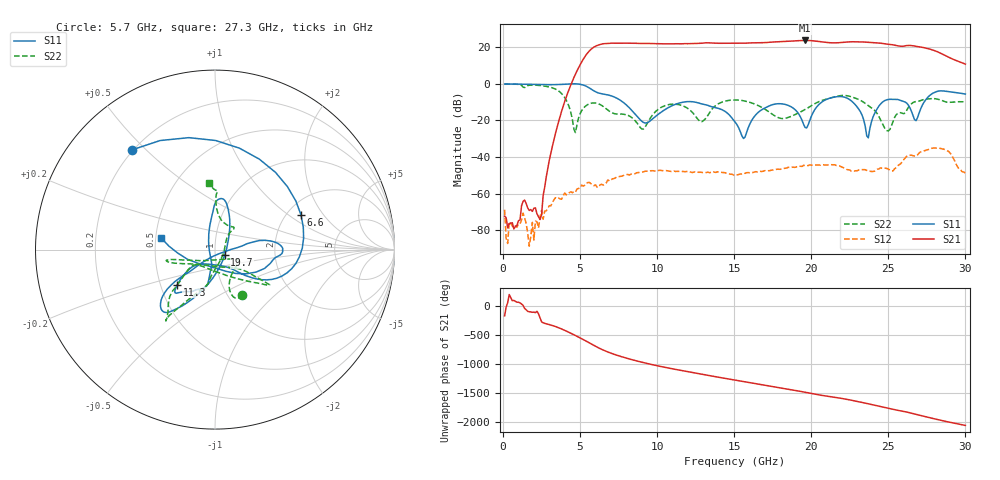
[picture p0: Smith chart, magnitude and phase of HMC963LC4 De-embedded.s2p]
! Hittite Microwave Corporation
! 2 Elizabeth Drive
! Chelmsford, MA 01824
! http://www.hittite.com
! Tel: 978-250-3343
! Fax: 978-250-3373
! Device:  HMC963LP4
! Description: GaAs pHEMT MMIC Low Noise Amplifier
! Frequency:  6.00 -  26.50 GHz
! Package:  LP4  - 4x4 mm Quad Flatpack No-Lead (QFN) Plastic Package: 24 pin
! Ports:  2 RF, 3 DC
!  Pin  1 = GND
!  Pin  2 = GND
!  Pin  3 = RF In  = Port 1
!  Pin  4 = GND
!  Pin 15 = GND
!  Pin 16 = RF Out  = Port 2
!  Pin 17 = GND
!  Pin 18 = GND
!  Pin 19 = Vdd3
!  Pin 21 = Vdd2
!  Pin 23 = Vdd1
! Voltages:  Vd1 = +3.50 Volts, Id1 =  11.61 mA
!  Vd2 = +3.50 Volts, Id2 =  16.16 mA
!  Vd3 = +3.50 Volts, Id3 =  20.98 mA
! Data:  The device was measured on evaluation board 108535-2.
!  Data was collected using a calibrated network analyzer.
!  The evaluation circuit board was modeled and simulated.  This was use
!  to removed the evaluation board circuit from the measured data.
!  The reference plane is the edge of the package pin.
! Misc:  Data Measured in Application 20110010 Part 1
!  De-embedding was done in Application 20110119
! Date Measured:  2011-04-11
! Date:  2011-11-03 MJV
! Date:  2012-05-09 MJV Fixed the voltages labels (had all 1's)
! Note:
!  Hittite supplies this data as a sample of measured data at the package pin for
!  for this package product.  Your particular data for this product may vary.
!  Data was taken at 25 degrees C.
!  Hittite reserves the right to change this data at anytime.
# GHz S MA R 50
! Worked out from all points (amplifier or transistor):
!   300 points, 100 MHz to 30 GHz, reference 50 ohm
!   highest |S21| = 23.7 dB at 19.6 GHz (marker M1)
!   |S21| within 3 dB of that: 6.039 GHz to 25.66 GHz (19.62 GHz wide, 124 % of centre)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
!   unconditionally stable (mu >= 1): start of sweep to 4.387 GHz; 4.803 GHz to end of sweep
!   at 5.1 GHz: K = 6.63, MAG = 22.5 dB, |S12| = -55.3 dB
!   at 15.1 GHz: K = 10.75, MAG = 22.8 dB, |S12| = -50.0 dB
!   at 30 GHz: K = 26.27, MAG = 12.7 dB, |S12| = -48.9 dB
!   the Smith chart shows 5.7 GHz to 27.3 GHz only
!   S11 on the Smith chart (normalised r, x): 5.7 GHz: 0.19, +0.45; 6.6 GHz: 2.36, +1.26; 11.3 GHz: 0.61, -0.26; 19.7 GHz: 1.11, -0.07; 27.3 GHz: 0.53, +0.08
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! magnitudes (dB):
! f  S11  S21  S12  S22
! 100 MHz  -0.1  -72.4  -68.9  -0.1
! 200 MHz  -0.1  -73.2  -84.5  -0.1
! 2.4 GHz  -0.4  -74.2  -72.9  -0.9
! 3.5 GHz  -0.4  -23.9  -62.9  -3.3
! 4.7 GHz  0.0  5.4  -59.2  -26.7
! 5.1 GHz  -0.4  12.0  -55.3  -14.7
! 5.7 GHz  -2.8  18.8  -54.6  -10.6
! 6.6 GHz  -5.7  22.0  -54.8  -13.0
! 9.1 GHz  -21.1  22.2  -48.2  -24.7
! 10.1 GHz  -16.5  22.0  -47.3  -13.7
! 11.3 GHz  -10.9  21.9  -47.9  -11.2
! 12.9 GHz  -11.0  22.2  -48.5  -20.7
! 15.1 GHz  -21.4  22.1  -50.0  -8.8
! 18 GHz  -10.9  23.0  -46.7  -18.8
! 19.6 GHz  -23.9  23.7  -44.6  -14.0
! 19.7 GHz  -24.1  23.7  -44.8  -13.5
! 20.1 GHz  -16.0  23.5  -44.5  -11.5
! 22.3 GHz  -7.7  22.9  -46.8  -6.5
! 23.7 GHz  -29.5  22.7  -47.7  -11.9
! 25.1 GHz  -8.5  21.6  -47.1  -24.9
! 27.3 GHz  -10.3  19.8  -36.7  -8.6
! 30 GHz  -5.6  10.8  -48.9  -9.9
